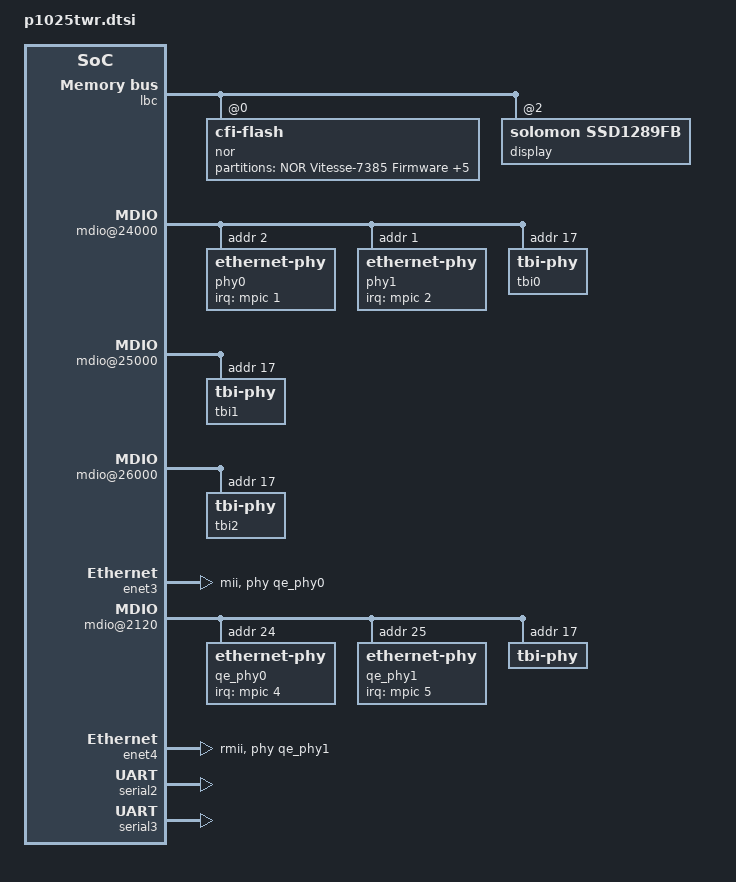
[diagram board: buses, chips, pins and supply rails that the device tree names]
/*
 * P1025 TWR Device Tree Source stub (no addresses or top-level ranges)
 *
 * Copyright 2013 Freescale Semiconductor Inc.
 *
 * Redistribution and use in source and binary forms, with or without
 * modification, are permitted provided that the following conditions are met:
 *     * Redistributions of source code must retain the above copyright
 *       notice, this list of conditions and the following disclaimer.
 *     * Redistributions in binary form must reproduce the above copyright
 *       notice, this list of conditions and the following disclaimer in the
 *       documentation and/or other materials provided with the distribution.
 *     * Neither the name of Freescale Semiconductor nor the
 *       names of its contributors may be used to endorse or promote products
 *       derived from this software without specific prior written permission.
 *
 *
 * ALTERNATIVELY, this software may be distributed under the terms of the
 * GNU General Public License ("GPL") as published by the Free Software
 * Foundation, either version 2 of that License or (at your option) any
 * later version.
 *
 * THIS SOFTWARE IS PROVIDED BY Freescale Semiconductor ``AS IS'' AND ANY
 * EXPRESS OR IMPLIED WARRANTIES, INCLUDING, BUT NOT LIMITED TO, THE IMPLIED
 * WARRANTIES OF MERCHANTABILITY AND FITNESS FOR A PARTICULAR PURPOSE ARE
 * DISCLAIMED. IN NO EVENT SHALL Freescale Semiconductor BE LIABLE FOR ANY
 * DIRECT, INDIRECT, INCIDENTAL, SPECIAL, EXEMPLARY, OR CONSEQUENTIAL DAMAGES
 * (INCLUDING, BUT NOT LIMITED TO, PROCUREMENT OF SUBSTITUTE GOODS OR SERVICES;
 * LOSS OF USE, DATA, OR PROFITS; OR BUSINESS INTERRUPTION) HOWEVER CAUSED AND
 * ON ANY THEORY OF LIABILITY, WHETHER IN CONTRACT, STRICT LIABILITY, OR TORT
 * (INCLUDING NEGLIGENCE OR OTHERWISE) ARISING IN ANY WAY OUT OF THE USE OF THIS
 * SOFTWARE, EVEN IF ADVISED OF THE POSSIBILITY OF SUCH DAMAGE.
 */

/{
       aliases {
		ethernet3 = &enet3;
		ethernet4 = &enet4;
       };
};

&lbc {
	nor@0,0 {
		#address-cells = <1>;
		#size-cells = <1>;
		compatible = "cfi-flash";
		reg = <0x0 0x0 0x4000000>;
		bank-width = <2>;
		device-width = <1>;

		partition@0 {
			/* This location must not be altered  */
			/* 256KB for Vitesse 7385 Switch firmware */
			reg = <0x0 0x00040000>;
			label = "NOR Vitesse-7385 Firmware";
			read-only;
		};

		partition@40000 {
			/* 256KB for DTB Image */
			reg = <0x00040000 0x00040000>;
			label = "NOR DTB Image";
		};

		partition@80000 {
			/* 5.5 MB for Linux Kernel Image */
			reg = <0x00080000 0x00580000>;
			label = "NOR Linux Kernel Image";
		};

		partition@400000 {
			/* 56.75MB for Root file System */
			reg = <0x00600000 0x038c0000>;
			label = "NOR Root File System";
		};

		partition@ec0000 {
			/* This location must not be altered  */
			/* 256KB for QE ucode firmware*/
			reg = <0x03ec0000 0x00040000>;
			label = "NOR QE microcode firmware";
			read-only;
		};

		partition@f00000 {
			/* This location must not be altered  */
			/* 512KB for u-boot Bootloader Image */
			/* 512KB for u-boot Environment Variables */
			reg = <0x03f00000 0x00100000>;
			label = "NOR U-Boot Image";
			read-only;
		};
	};

	/* CS2 for Display */
	display@2,0 {
		compatible = "solomon,ssd1289fb";
		reg = <0x2 0x0000 0x0004>;
	};

};

&soc {
	usb@22000 {
		phy_type = "ulpi";
	};

	mdio@24000 {
		phy0: ethernet-phy@2 {
			interrupt-parent = <&mpic>;
			interrupts = <1 1 0 0>;
			reg = <0x2>;
		};

		phy1: ethernet-phy@1 {
			interrupt-parent = <&mpic>;
			interrupts = <2 1 0 0>;
			reg = <0x1>;
		};

		tbi0: tbi-phy@11 {
			reg = <0x11>;
			device_type = "tbi-phy";
		};
	};

	mdio@25000 {
		tbi1: tbi-phy@11 {
			reg = <0x11>;
			device_type = "tbi-phy";
		};
	};

	mdio@26000 {
		tbi2: tbi-phy@11 {
			reg = <0x11>;
			device_type = "tbi-phy";
		};
	};

	enet0: ethernet@b0000 {
		phy-handle = <&phy0>;
		phy-connection-type = "rgmii-id";

	};

	enet1: ethernet@b1000 {
		status = "disabled";
	};

	enet2: ethernet@b2000 {
		phy-handle = <&phy1>;
		phy-connection-type = "rgmii-id";
	};

	par_io@e0100 {
		#address-cells = <1>;
		#size-cells = <1>;
		reg = <0xe0100 0x60>;
		ranges = <0x0 0xe0100 0x60>;
		device_type = "par_io";
		num-ports = <3>;
		pio1: ucc_pin@01 {
			pio-map = <
		/* port  pin  dir  open_drain  assignment  has_irq */
				0x1  0x13 0x1  0x0  0x1  0x0    /* QE_MUX_MDC */
				0x1  0x14 0x3  0x0  0x1  0x0    /* QE_MUX_MDIO */
				0x0  0x17 0x2  0x0  0x2  0x0    /* CLK12 */
				0x0  0x18 0x2  0x0  0x1  0x0    /* CLK9 */
				0x0  0x7  0x1  0x0  0x2  0x0    /* ENET1_TXD0_SER1_TXD0 */
				0x0  0x9  0x1  0x0  0x2  0x0    /* ENET1_TXD1_SER1_TXD1 */
				0x0  0xb  0x1  0x0  0x2  0x0    /* ENET1_TXD2_SER1_TXD2 */
				0x0  0xc  0x1  0x0  0x2  0x0    /* ENET1_TXD3_SER1_TXD3 */
				0x0  0x6  0x2  0x0  0x2  0x0    /* ENET1_RXD0_SER1_RXD0 */
				0x0  0xa  0x2  0x0  0x2  0x0    /* ENET1_RXD1_SER1_RXD1 */
				0x0  0xe  0x2  0x0  0x2  0x0    /* ENET1_RXD2_SER1_RXD2 */
				0x0  0xf  0x2  0x0  0x2  0x0    /* ENET1_RXD3_SER1_RXD3 */
				0x0  0x5  0x1  0x0  0x2  0x0    /* ENET1_TX_EN_SER1_RTS_B */
				0x0  0xd  0x1  0x0  0x2  0x0    /* ENET1_TX_ER */
				0x0  0x4  0x2  0x0  0x2  0x0    /* ENET1_RX_DV_SER1_CTS_B */
				0x0  0x8  0x2  0x0  0x2  0x0    /* ENET1_RX_ER_SER1_CD_B */
				0x0  0x11 0x2  0x0  0x2  0x0    /* ENET1_CRS */
				0x0  0x10 0x2  0x0  0x2  0x0>;    /* ENET1_COL */
		};

		pio2: ucc_pin@02 {
			pio-map = <
		/* port  pin  dir  open_drain  assignment  has_irq */
				0x1  0x13 0x1  0x0  0x1  0x0    /* QE_MUX_MDC */
				0x1  0x14 0x3  0x0  0x1  0x0    /* QE_MUX_MDIO */
				0x1  0xb  0x2  0x0  0x1  0x0    /* CLK13 */
				0x1  0x7  0x1  0x0  0x2  0x0    /* ENET5_TXD0_SER5_TXD0 */
				0x1  0xa  0x1  0x0  0x2  0x0    /* ENET5_TXD1_SER5_TXD1 */
				0x1  0x6  0x2  0x0  0x2  0x0    /* ENET5_RXD0_SER5_RXD0 */
				0x1  0x9  0x2  0x0  0x2  0x0    /* ENET5_RXD1_SER5_RXD1 */
				0x1  0x5  0x1  0x0  0x2  0x0    /* ENET5_TX_EN_SER5_RTS_B */
				0x1  0x4  0x2  0x0  0x2  0x0    /* ENET5_RX_DV_SER5_CTS_B */
				0x1  0x8  0x2  0x0  0x2  0x0>;    /* ENET5_RX_ER_SER5_CD_B */
		};

		pio3: ucc_pin@03 {
			pio-map = <
		/* port  pin  dir  open_drain  assignment  has_irq */
				0x0  0x16 0x2  0x0  0x2  0x0    /* SER7_CD_B*/
				0x0  0x12 0x2  0x0  0x2  0x0    /* SER7_CTS_B*/
				0x0  0x13 0x1  0x0  0x2  0x0    /* SER7_RTS_B*/
				0x0  0x14 0x2  0x0  0x2  0x0    /* SER7_RXD0*/
				0x0  0x15 0x1  0x0  0x2  0x0>;    /* SER7_TXD0*/
		};

		pio4: ucc_pin@04 {
			pio-map = <
		/* port  pin  dir  open_drain  assignment  has_irq */
				0x1  0x0  0x2  0x0  0x2  0x0    /* SER3_CD_B*/
				0x0  0x1c 0x2  0x0  0x2  0x0    /* SER3_CTS_B*/
				0x0  0x1d 0x1  0x0  0x2  0x0    /* SER3_RTS_B*/
				0x0  0x1e 0x2  0x0  0x2  0x0    /* SER3_RXD0*/
				0x0  0x1f 0x1  0x0  0x2  0x0>;    /* SER3_TXD0*/
		};
	};
};

&qe {
	enet3: ucc@2000 {
		device_type = "network";
		compatible = "ucc_geth";
		rx-clock-name = "clk12";
		tx-clock-name = "clk9";
		pio-handle = <&pio1>;
		phy-handle = <&qe_phy0>;
		phy-connection-type = "mii";
	};

	mdio@2120 {
		qe_phy0: ethernet-phy@18 {
			interrupt-parent = <&mpic>;
			interrupts = <4 1 0 0>;
			reg = <0x18>;
			device_type = "ethernet-phy";
		};
		qe_phy1: ethernet-phy@19 {
			interrupt-parent = <&mpic>;
			interrupts = <5 1 0 0>;
			reg = <0x19>;
			device_type = "ethernet-phy";
		};
		tbi-phy@11 {
			reg = <0x11>;
			device_type = "tbi-phy";
		};
	};

	enet4: ucc@2400 {
		device_type = "network";
		compatible = "ucc_geth";
		rx-clock-name = "none";
		tx-clock-name = "clk13";
		pio-handle = <&pio2>;
		phy-handle = <&qe_phy1>;
		phy-connection-type = "rmii";
	};

	serial2: ucc@2600 {
		device_type = "serial";
		compatible = "ucc_uart";
		port-number = <0>;
		rx-clock-name = "brg6";
		tx-clock-name = "brg6";
		pio-handle = <&pio3>;
	};

	serial3: ucc@2200 {
		device_type = "serial";
		compatible = "ucc_uart";
		port-number = <1>;
		rx-clock-name = "brg2";
		tx-clock-name = "brg2";
		pio-handle = <&pio4>;
	};
};
